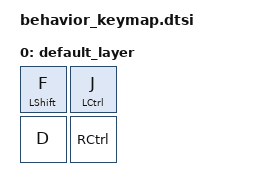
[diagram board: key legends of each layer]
#include <dt-bindings/zmk/keys.h>
#include <behaviors.dtsi>
#include <dt-bindings/zmk/kscan_mock.h>



/ {
    behaviors {
        ht_hold: behavior_hold_hold_tap {
            compatible = "zmk,behavior-hold-tap";
            #binding-cells = <2>;
            flavor = "hold-preferred";
            tapping-term-ms = <300>;
            quick-tap-ms = <200>;
            bindings = <&kp>, <&kp>;
        };
    };

    keymap {
        compatible = "zmk,keymap";

        default_layer {
            bindings = <
                &ht_hold LEFT_SHIFT F &ht_hold LEFT_CONTROL J
                &kp D &kp RIGHT_CONTROL>;
        };
    };
};
